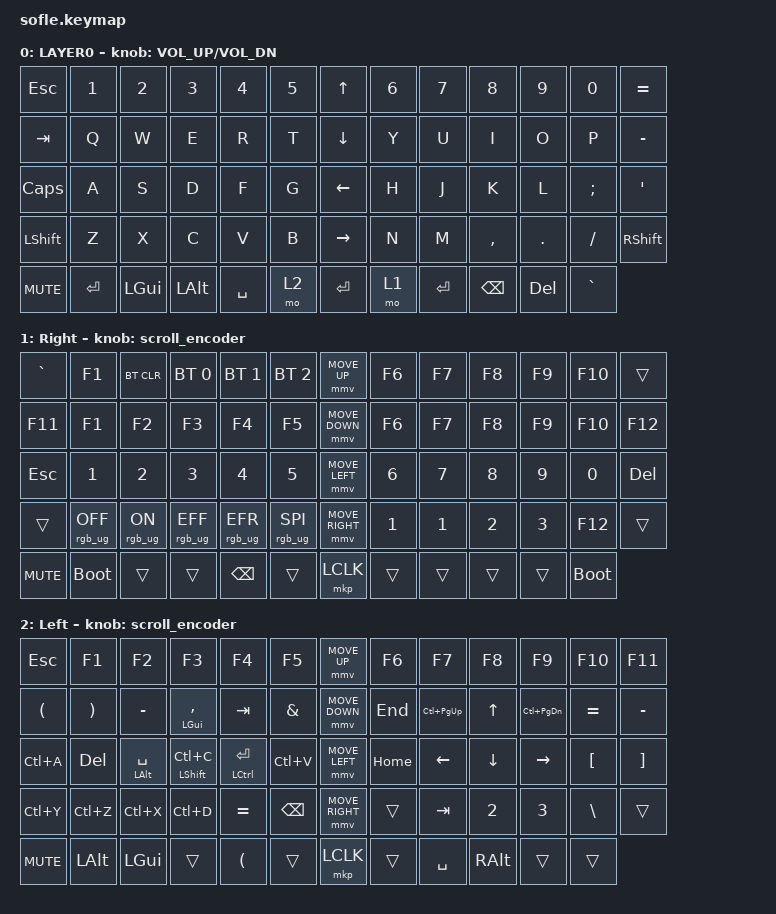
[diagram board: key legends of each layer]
#include <behaviors/mouse_keys.dtsi>
#include <behaviors.dtsi>
#include <dt-bindings/zmk/bt.h>
#include <dt-bindings/zmk/keys.h>
#include <dt-bindings/zmk/mouse.h>
#include <dt-bindings/zmk/outputs.h>
#include <dt-bindings/zmk/rgb.h>

/ {
    behaviors {
        mmv {
            acceleration-exponent = <1>;
            time-to-max-speed-ms = <900>;
            delay-ms = <0>;
        };

        msc {
            acceleration-exponent = <1>;
            time-to-max-speed-ms = <400>;
            delay-ms = <0>;
        };
    };

    scroll_encoder: scroll_encoder {
        compatible = "zmk,behavior-sensor-rotate";
        #sensor-binding-cells = <0>;
        bindings = <&msc SCRL_DOWN>, <&msc SCRL_UP>;
        tap-ms = <30>;
    };

    keymap {
        compatible = "zmk,keymap";

        layer0 {
            bindings = <
&kp ESC     &kp N1     &kp N2        &kp N3        &kp N4      &kp N5       &kp UP_ARROW     &kp N6     &kp N7         &kp N8          &kp N9           &kp N0      &kp EQUAL
&kp TAB     &kp Q      &kp W         &kp E         &kp R       &kp T        &kp DOWN_ARROW   &kp Y      &kp U          &kp I           &kp O            &kp P       &kp MINUS
&kp CAPS    &kp A      &kp S         &kp D         &kp F       &kp G        &kp LEFT_ARROW   &kp H      &kp J          &kp K           &kp L            &kp SEMI    &kp APOS
&kp LSHFT   &kp Z      &kp X         &kp C         &kp V       &kp B        &kp RIGHT_ARROW  &kp N      &kp M          &kp COMMA       &kp DOT          &kp FSLH    &kp RIGHT_SHIFT
&kp C_MUTE  &kp ENTER  &kp LEFT_GUI  &kp LEFT_ALT  &kp SPACE   &mo 2        &kp ENTER        &mo 1      &kp ENTER      &kp BACKSPACE   &kp DELETE       &kp GRAVE
            >;
            sensor-bindings = <&inc_dec_kp C_VOLUME_UP C_VOL_DN>;
            display-name = "LAYER0";
        };

        layer1 {
            bindings = <
&kp GRAVE   &kp F1           &bt BT_CLR      &bt BT_SEL 0          &bt BT_SEL 1           &bt BT_SEL 2       &mmv MOVE_UP     &kp F6           &kp F7           &kp F8      &kp F9     &kp F10       &trans
&kp F11     &kp F1           &kp F2          &kp F3                &kp F4                 &kp F5             &mmv MOVE_DOWN   &kp F6           &kp F7           &kp F8      &kp F9     &kp F10       &kp F12
&kp ESC     &kp N1           &kp N2          &kp N3                &kp N4                 &kp N5             &mmv MOVE_LEFT   &kp N6           &kp N7           &kp N8      &kp N9     &kp N0        &kp DELETE
&trans      &rgb_ug RGB_OFF  &rgb_ug RGB_ON  &rgb_ug RGB_EFF       &rgb_ug RGB_EFR        &rgb_ug RGB_SPI    &mmv MOVE_RIGHT  &kp N1           &kp N1           &kp N2      &kp N3     &kp F12       &trans
&kp C_MUTE  &bootloader      &trans          &trans                &kp BACKSPACE          &trans             &mkp LCLK        &trans           &trans           &trans      &trans     &bootloader
            >;
            display-name = "Right";
            sensor-bindings = <&scroll_encoder>;
        };

        layer2 {
            bindings = < 
&kp ESC             &kp F1            &kp F2           &kp F3                &kp F4             &kp F5         &mmv MOVE_UP         &kp F6       &kp F7           &kp F8             &kp F9         &kp F10        &kp F11
&kp LPAR            &kp RPAR          &kp MINUS        &mt LEFT_GUI COMMA    &kp TAB            &kp AMPS       &mmv MOVE_DOWN       &kp END      &kp LC(PG_UP)    &kp UP             &kp LC(PG_DN)  &kp EQUAL      &kp MINUS
&kp LC(A)           &kp DELETE        &mt LALT SPACE   &mt LSHFT LC(C)       &mt LCTRL ENTER    &kp LC(V)      &mmv MOVE_LEFT       &kp HOME     &kp LEFT         &kp DOWN           &kp RIGHT      &kp LBKT       &kp RBKT
&kp LC(Y)           &kp LC(Z)         &kp LC(X)        &kp LC(D)             &kp EQUAL          &kp BACKSPACE  &mmv MOVE_RIGHT      &trans       &kp TAB          &kp N2             &kp N3         &kp BSLH       &trans
&kp C_MUTE          &kp LEFT_ALT      &kp LEFT_GUI     &trans                &kp LPAR           &trans         &mkp LCLK            &trans       &kp SPACE        &kp RIGHT_ALT      &trans         &trans
            >;
            display-name = "Left";
            sensor-bindings = <&scroll_encoder>;
        };
    };
};
